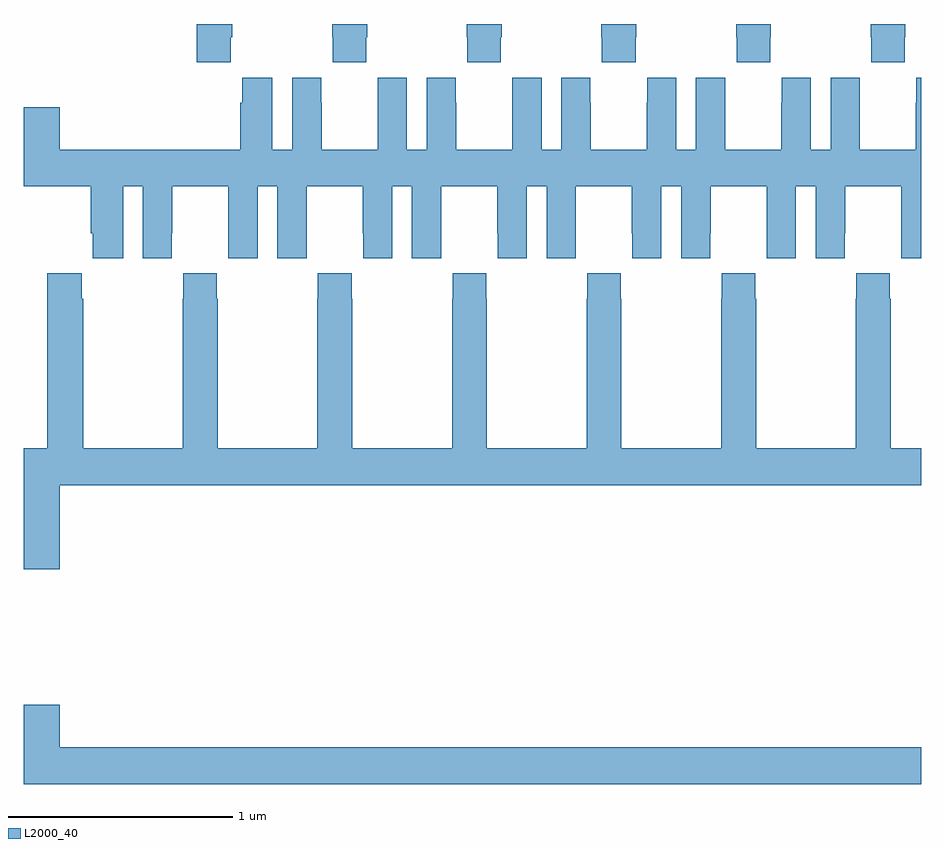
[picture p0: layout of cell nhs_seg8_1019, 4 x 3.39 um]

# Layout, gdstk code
import gdstk
lib = gdstk.Library(unit=1e-6, precision=1e-09)
def P(c, l, *ps):  # polygons
    for p in ps: c.add(gdstk.Polygon(p, *l))
L2000_40 = (2000, 40)

nhs_seg8_1019 = lib.new_cell('nhs_seg8_1019')
P(nhs_seg8_1019, L2000_40, [(178.527,1107.841),(178.53,1107.841),(178.53,1107.9),(178.375,1107.9),(178.375,1107.841),(178.377,1107.841),(178.377,1107.729),(178.527,1107.729)],
  [(179.127,1107.841),(179.13,1107.841),(179.13,1107.9),(178.975,1107.9),(178.975,1107.841),(178.977,1107.841),(178.977,1107.729),(179.127,1107.729)],
  [(179.727,1107.841),(179.73,1107.841),(179.73,1107.9),(179.575,1107.9),(179.575,1107.841),(179.577,1107.841),(179.577,1107.729),(179.727,1107.729)],
  [(180.327,1107.841),(180.33,1107.841),(180.33,1107.9),(180.175,1107.9),(180.175,1107.841),(180.177,1107.841),(180.177,1107.729),(180.327,1107.729)],
  [(180.927,1107.841),(180.93,1107.841),(180.93,1107.9),(180.775,1107.9),(180.775,1107.841),(180.777,1107.841),(180.777,1107.729),(180.927,1107.729)],
  [(177.923,1107.841),(177.93,1107.841),(177.93,1107.9),(177.77,1107.9),(177.77,1107.729),(177.923,1107.729)],
  [(180.311,1106.968),(180.312,1106.968),(180.312,1106.856),(180.442,1106.856),(180.442,1107.176),(180.53,1107.176),(180.53,1106.856),(180.66,1106.856),(180.66,1106.968),(180.661,1106.968),(180.661,1107.176),(180.911,1107.176),(180.911,1106.968),(180.912,1106.968),(180.912,1106.856),(181,1106.856),(181,1107.661),(180.978,1107.661),(180.978,1107.548),(180.977,1107.548),(180.977,1107.34),(180.727,1107.34),(180.727,1107.548),(180.726,1107.548),(180.726,1107.661),(180.596,1107.661),(180.596,1107.34),(180.508,1107.34),(180.508,1107.661),(180.378,1107.661),(180.378,1107.548),(180.377,1107.548),(180.377,1107.34),(180.127,1107.34),(180.127,1107.548),(180.126,1107.548),(180.126,1107.661),(179.996,1107.661),(179.996,1107.34),(179.908,1107.34),(179.908,1107.661),(179.778,1107.661),(179.778,1107.548),(179.777,1107.548),(179.777,1107.34),(179.527,1107.34),(179.527,1107.548),(179.526,1107.548),(179.526,1107.661),(179.396,1107.661),(179.396,1107.34),(179.308,1107.34),(179.308,1107.661),(179.178,1107.661),(179.178,1107.548),(179.177,1107.548),(179.177,1107.34),(178.927,1107.34),(178.927,1107.548),(178.926,1107.548),(178.926,1107.661),(178.796,1107.661),(178.796,1107.34),(178.708,1107.34),(178.708,1107.661),(178.578,1107.661),(178.578,1107.548),(178.577,1107.548),(178.577,1107.34),(178.327,1107.34),(178.327,1107.548),(178.326,1107.548),(178.326,1107.661),(178.196,1107.661),(178.196,1107.34),(178.108,1107.34),(178.108,1107.661),(177.974,1107.661),(177.974,1107.548),(177.965,1107.548),(177.965,1107.34),(177.16,1107.34),(177.16,1107.529),(177,1107.529),(177,1107.176),(177.299,1107.176),(177.299,1106.968),(177.308,1106.968),(177.308,1106.856),(177.442,1106.856),(177.442,1107.176),(177.53,1107.176),(177.53,1106.856),(177.66,1106.856),(177.66,1106.968),(177.661,1106.968),(177.661,1107.176),(177.911,1107.176),(177.911,1106.968),(177.912,1106.968),(177.912,1106.856),(178.042,1106.856),(178.042,1107.176),(178.13,1107.176),(178.13,1106.856),(178.26,1106.856),(178.26,1106.968),(178.261,1106.968),(178.261,1107.176),(178.511,1107.176),(178.511,1106.968),(178.512,1106.968),(178.512,1106.856),(178.642,1106.856),(178.642,1107.176),(178.73,1107.176),(178.73,1106.856),(178.86,1106.856),(178.86,1106.968),(178.861,1106.968),(178.861,1107.176),(179.111,1107.176),(179.111,1106.968),(179.112,1106.968),(179.112,1106.856),(179.242,1106.856),(179.242,1107.176),(179.33,1107.176),(179.33,1106.856),(179.46,1106.856),(179.46,1106.968),(179.461,1106.968),(179.461,1107.176),(179.711,1107.176),(179.711,1106.968),(179.712,1106.968),(179.712,1106.856),(179.842,1106.856),(179.842,1107.176),(179.93,1107.176),(179.93,1106.856),(180.06,1106.856),(180.06,1106.968),(180.061,1106.968),(180.061,1107.176),(180.311,1107.176)],
  [(177.16,1105.844),(181,1105.844),(181,1106.008),(180.864,1106.008),(180.864,1106.675),(180.861,1106.675),(180.861,1106.788),(180.711,1106.788),(180.711,1106.675),(180.709,1106.675),(180.709,1106.008),(180.264,1106.008),(180.264,1106.675),(180.261,1106.675),(180.261,1106.788),(180.111,1106.788),(180.111,1106.675),(180.109,1106.675),(180.109,1106.008),(179.664,1106.008),(179.664,1106.675),(179.661,1106.675),(179.661,1106.788),(179.511,1106.788),(179.511,1106.675),(179.509,1106.675),(179.509,1106.008),(179.064,1106.008),(179.064,1106.675),(179.061,1106.675),(179.061,1106.788),(178.911,1106.788),(178.911,1106.675),(178.909,1106.675),(178.909,1106.008),(178.464,1106.008),(178.464,1106.675),(178.461,1106.675),(178.461,1106.788),(178.311,1106.788),(178.311,1106.675),(178.309,1106.675),(178.309,1106.008),(177.864,1106.008),(177.864,1106.675),(177.861,1106.675),(177.861,1106.788),(177.711,1106.788),(177.711,1106.675),(177.709,1106.675),(177.709,1106.008),(177.264,1106.008),(177.264,1106.675),(177.257,1106.675),(177.257,1106.788),(177.104,1106.788),(177.104,1106.008),(177,1106.008),(177,1105.47),(177.16,1105.47)],
  [(181,1104.676),(177.16,1104.676),(177.16,1104.865),(177,1104.865),(177,1104.512),(181,1104.512)])

lib.write_gds('nhs_seg8_1019.gds')
